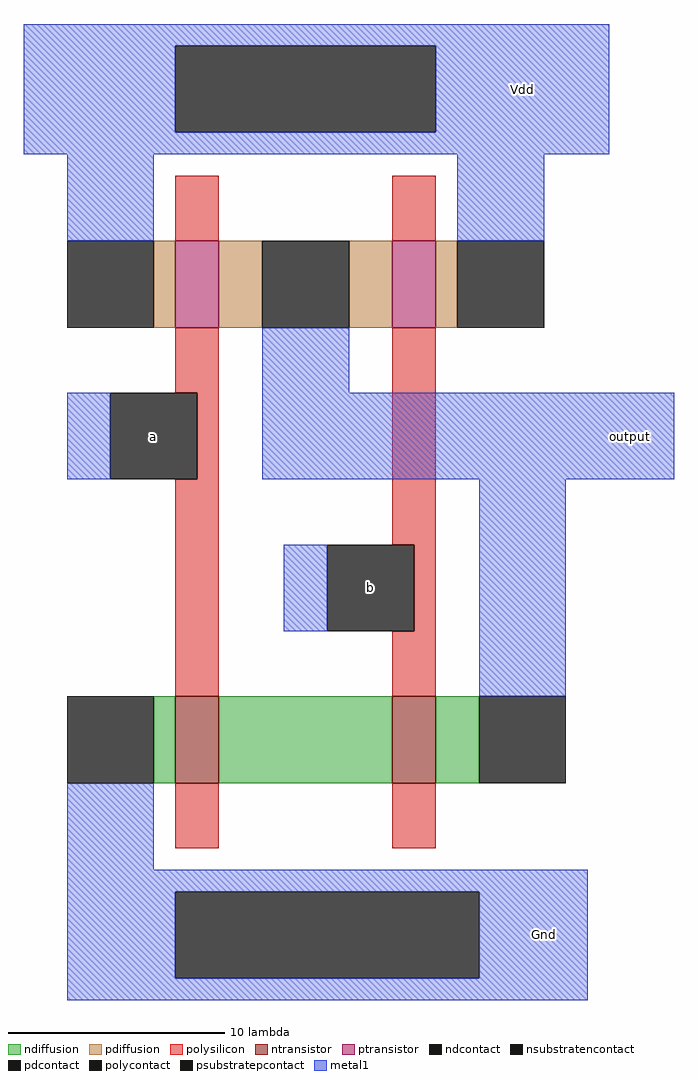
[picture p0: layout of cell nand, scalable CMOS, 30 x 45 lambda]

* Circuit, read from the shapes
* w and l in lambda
.subckt nand Gnd Vdd a b output
M1 n1 a Gnd Gnd nfet w=4 l=2
M2 output b n1 Gnd nfet w=4 l=2
M3 output a Vdd Vdd pfet w=4 l=2
M4 Vdd b output Vdd pfet w=4 l=2
.ends

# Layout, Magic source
magic
tech scmos
<< ntransistor >>
rect 0 -15 2 -11
rect 10 -15 12 -11
<< ptransistor >>
rect 0 6 2 10
rect 10 6 12 10
<< ndiffusion >>
rect -1 -15 0 -11
rect 2 -15 10 -11
rect 12 -15 14 -11
<< pdiffusion >>
rect -1 6 0 10
rect 2 6 4 10
rect 8 6 10 10
rect 12 6 13 10
<< ndcontact >>
rect -5 -15 -1 -11
rect 14 -15 18 -11
<< pdcontact >>
rect -5 6 -1 10
rect 4 6 8 10
rect 13 6 17 10
<< psubstratepcontact >>
rect 0 -24 14 -20
<< nsubstratencontact >>
rect 0 15 12 19
<< polysilicon >>
rect 0 10 2 13
rect 10 10 12 13
rect 0 3 2 6
rect 1 -1 2 3
rect 0 -11 2 -1
rect 10 -4 12 6
rect 11 -8 12 -4
rect 10 -11 12 -8
rect 0 -18 2 -15
rect 10 -18 12 -15
<< polycontact >>
rect -3 -1 1 3
rect 7 -8 11 -4
<< metal1 >>
rect -7 19 20 20
rect -7 15 0 19
rect 12 15 20 19
rect -7 14 20 15
rect -5 10 -1 14
rect 13 10 17 14
rect 4 3 8 6
rect -5 -1 -3 3
rect 4 -1 23 3
rect 5 -8 7 -4
rect 14 -11 18 -1
rect -5 -19 -1 -15
rect -5 -20 19 -19
rect -5 -24 0 -20
rect 14 -24 19 -20
rect -5 -25 19 -24
<< labels >>
rlabel metal1 16 17 16 17 5 Vdd
rlabel polycontact -1 1 -1 1 1 a
rlabel polycontact 9 -6 9 -6 1 b
rlabel metal1 21 1 21 1 7 output
rlabel metal1 17 -22 17 -22 1 Gnd
<< end >>
